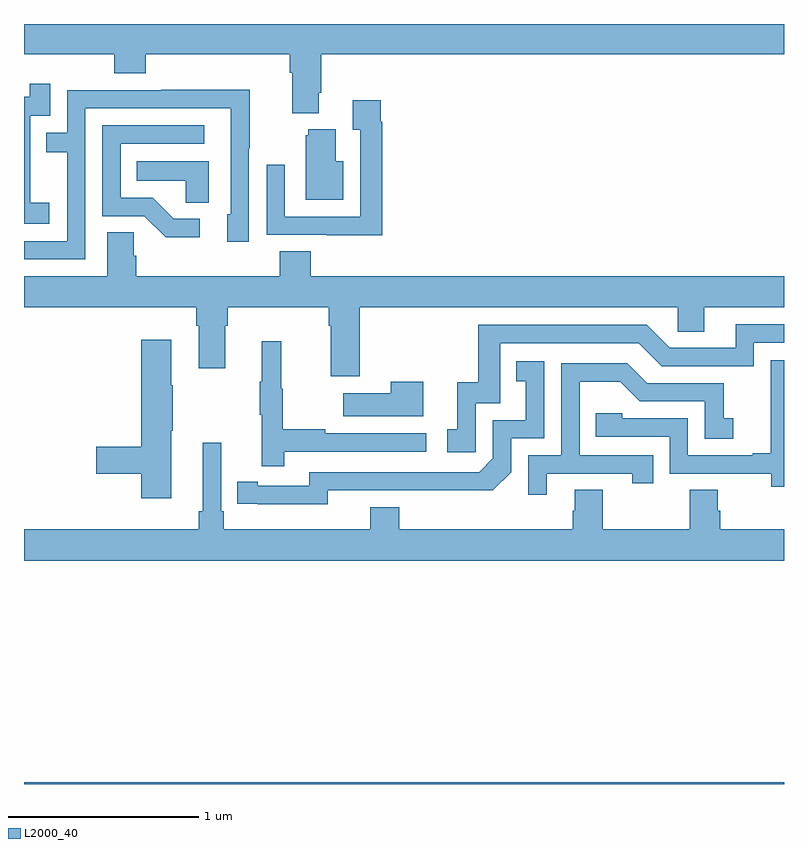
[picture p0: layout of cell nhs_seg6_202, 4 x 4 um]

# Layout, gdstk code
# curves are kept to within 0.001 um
import gdstk
lib = gdstk.Library(unit=1e-6, precision=1e-09)
def R(c, l, rs):  # rectangles x0, y0, x1, y1
    for r in rs: c.add(gdstk.rectangle(r[:2], r[2:], *l))
def P(c, l, *ps):  # polygons
    for p in ps: c.add(gdstk.Polygon(p, *l))
L2000_40 = (2000, 40)

nhs_seg6_202 = lib.new_cell('nhs_seg6_202')
R(nhs_seg6_202, L2000_40, [(121,939.5,125,939.508)])
P(nhs_seg6_202, L2000_40, [(122.551,943.138),(122.564,943.138),(122.564,943.34),(125,943.34),(125,943.5),(121,943.5),(121,943.34),(121.475,943.34),(121.475,943.241),(121.64,943.241),(121.64,943.34),(122.399,943.34),(122.399,943.244),(122.411,943.244),(122.411,943.031),(122.551,943.031)],
  [(121.132,942.559),(121.034,942.559),(121.034,942.788),(121.032,942.788),(121.032,943.017),(121.137,943.017),(121.137,943.186),(121.029,943.186),(121.029,943.116),(121,943.116),(121,942.449),(121.132,942.449)],
  [(121.323,943.056),(122.088,943.056),(122.088,942.498),(122.069,942.498),(122.069,942.354),(122.184,942.354),(122.184,942.847),(122.187,942.847),(122.187,943.154),(121.723,943.154),(121.723,943.152),(121.227,943.152),(121.227,942.927),(121.117,942.927),(121.117,942.826),(121.227,942.826),(121.227,942.357),(121,942.357),(121,942.261),(121.323,942.261)],
  [(122.885,942.986),(122.878,942.986),(122.878,943.099),(122.729,943.099),(122.729,942.943),(122.769,942.943),(122.769,942.486),(122.373,942.486),(122.373,942.76),(122.277,942.76),(122.277,942.39),(122.593,942.39),(122.593,942.389),(122.885,942.389)],
  [(121.924,942.474),(121.789,942.474),(121.678,942.585),(121.509,942.585),(121.509,942.87),(121.948,942.87),(121.948,942.966),(121.413,942.966),(121.413,942.489),(121.632,942.489),(121.745,942.377),(121.924,942.377)],
  [(122.68,942.778),(122.641,942.778),(122.641,942.946),(122.495,942.946),(122.495,942.915),(122.483,942.915),(122.483,942.575),(122.68,942.575)],
  [(121.972,942.778),(121.594,942.778),(121.594,942.674),(121.851,942.674),(121.851,942.559),(121.972,942.559)],
  [(122.768,942.008),(124.44,942.008),(124.44,941.881),(124.579,941.881),(124.579,942.008),(125,942.008),(125,942.172),(122.51,942.172),(122.51,942.305),(122.345,942.305),(122.345,942.172),(121.592,942.172),(121.592,942.281),(121.578,942.281),(121.578,942.404),(121.439,942.404),(121.439,942.172),(121,942.172),(121,942.008),(121.907,942.008),(121.907,941.912),(121.919,941.912),(121.919,941.688),(122.059,941.688),(122.059,941.912),(122.072,941.912),(122.072,942.008),(122.603,942.008),(122.603,941.912),(122.615,941.912),(122.615,941.646),(122.768,941.646)],
  [(123.378,941.505),(123.507,941.505),(123.507,941.82),(124.236,941.82),(124.356,941.7),(124.842,941.7),(124.842,941.823),(125,941.823),(125,941.919),(124.745,941.919),(124.745,941.796),(124.398,941.796),(124.278,941.916),(123.391,941.916),(123.391,941.614),(123.281,941.614),(123.281,941.367),(123.228,941.367),(123.228,941.247),(123.378,941.247)],
  [(121.774,941.359),(121.782,941.359),(121.782,941.6),(121.774,941.6),(121.774,941.839),(121.616,941.839),(121.616,941.276),(121.38,941.276),(121.38,941.134),(121.616,941.134),(121.616,941.004),(121.774,941.004)],
  [(122.369,941.25),(123.118,941.25),(123.118,941.346),(122.585,941.346),(122.585,941.366),(122.362,941.366),(122.362,941.58),(122.354,941.58),(122.354,941.83),(122.252,941.83),(122.252,941.617),(122.241,941.617),(122.241,941.443),(122.252,941.443),(122.252,941.172),(122.369,941.172)],
  [(125,941.731),(124.93,941.731),(124.93,941.525),(124.931,941.525),(124.931,941.242),(124.835,941.242),(124.835,941.229),(124.494,941.229),(124.494,941.424),(124.149,941.424),(124.149,941.451),(124.009,941.451),(124.009,941.328),(124.398,941.328),(124.398,941.133),(124.932,941.133),(124.932,941.065),(125,941.065)],
  [(122.598,941.046),(123.466,941.045),(123.564,941.142),(123.564,941.319),(123.738,941.319),(123.738,941.725),(123.592,941.725),(123.592,941.619),(123.641,941.619),(123.641,941.415),(123.468,941.415),(123.468,941.214),(123.396,941.142),(122.502,941.142),(122.502,941.07),(122.23,941.07),(122.23,941.09),(122.122,941.09),(122.122,940.974),(122.598,940.973)],
  [(123.751,941.133),(124.202,941.133),(124.202,941.082),(124.313,941.082),(124.313,941.229),(123.924,941.229),(123.924,941.618),(124.138,941.618),(124.242,941.514),(124.584,941.514),(124.584,941.316),(124.732,941.316),(124.732,941.425),(124.683,941.425),(124.683,941.61),(124.279,941.61),(124.174,941.715),(123.828,941.715),(123.828,941.229),(123.654,941.229),(123.654,941.022),(123.751,941.022)],
  [(123.1,941.617),(122.93,941.617),(122.93,941.557),(122.681,941.557),(122.681,941.435),(123.1,941.435)],
  [(125,940.84),(124.664,940.84),(124.664,940.938),(124.651,940.938),(124.651,941.048),(124.504,941.048),(124.504,940.84),(124.047,940.84),(124.047,941.048),(123.899,941.048),(123.899,940.938),(123.887,940.938),(123.887,940.84),(122.975,940.84),(122.975,940.957),(122.822,940.957),(122.822,940.84),(122.051,940.84),(122.051,940.936),(122.037,940.936),(122.037,941.296),(121.94,941.296),(121.94,940.936),(121.921,940.936),(121.921,940.84),(121,940.84),(121,940.676),(125,940.676)])

lib.write_gds('nhs_seg6_202.gds')
